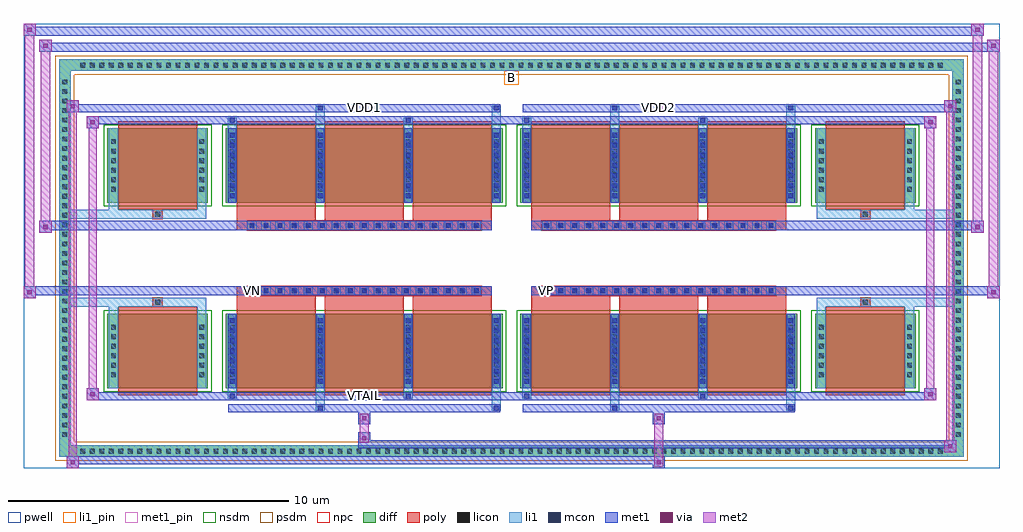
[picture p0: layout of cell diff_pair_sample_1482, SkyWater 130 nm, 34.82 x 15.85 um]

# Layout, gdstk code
import gdstk
lib = gdstk.Library(unit=1e-6, precision=5e-09)
def R(c, l, rs):  # rectangles x0, y0, x1, y1
    for r in rs: c.add(gdstk.rectangle(r[:2], r[2:], *l))
def A(c, l, x, y, w, h, nx, ny, dx, dy):  # array of equal rectangles
    R(c, l, [(x+i*dx, y+j*dy, x+i*dx+w, y+j*dy+h) for i in range(nx) for j in range(ny)])
def P(c, l, *ps):  # polygons
    for p in ps: c.add(gdstk.Polygon(p, *l))
pwell = (64, 44)
diff = (65, 20)
poly = (66, 20)
licon = (66, 44)
li1_pin = (67, 16)
li1 = (67, 20)
mcon = (67, 44)
met1_pin = (68, 16)
met1 = (68, 20)
via = (68, 44)
met2 = (69, 20)
nsdm = (93, 44)
psdm = (94, 20)
npc = (95, 20)

diff_pair_sample_1482 = lib.new_cell('diff_pair_sample_1482')
R(diff_pair_sample_1482, pwell, [(-17.41,-7.49,17.41,8.36), (-14.73,-5.68,-0.01,-0.8), (0.01,-5.68,14.73,-0.8), (-14.73,0.8,-0.01,5.68), (0.01,0.8,14.73,5.68)])
A(diff_pair_sample_1482, diff, -15.505, -7.09, 0.41, 0.41, 91, 2, 0.34, 13.77)
A(diff_pair_sample_1482, diff, -16.14, -6.495, 0.41, 0.41, 1, 38, 0, 0.34)
A(diff_pair_sample_1482, diff, 15.73, -6.495, 0.41, 0.41, 1, 38, 0, 0.34)
R(diff_pair_sample_1482, diff, [(-15.505,-7.09,15.505,-6.68), (-16.14,-6.495,-15.73,6.495), (15.73,-6.495,16.14,6.495), (-14.42,-4.635,-10.83,-1.985), (-10.19,-4.635,-0.32,-1.985), (0.32,-4.635,10.19,-1.985), (10.83,-4.635,14.42,-1.985), (-14.42,1.985,-10.83,4.635), (-10.19,1.985,-0.32,4.635), (0.32,1.985,10.19,4.635), (10.83,1.985,14.42,4.635), (-15.505,6.68,15.505,7.09)])
P(diff_pair_sample_1482, diff, [(16.14,7.09),(-16.14,7.09),(-16.14,-6.68),(-15.73,-6.68),(-15.73,6.68),(15.73,6.68),(15.73,-6.68),(-15.73,-6.68),(-16.14,-6.68),(-16.14,-7.09),(16.14,-7.09)])
A(diff_pair_sample_1482, poly, -9.8, -4.885, 2.81, 3.15, 3, 2, 3.14, 6.62)
A(diff_pair_sample_1482, poly, 0.71, -4.885, 2.81, 3.15, 3, 2, 3.14, 6.62)
A(diff_pair_sample_1482, poly, -9.8, -1.735, 2.81, 0.405, 3, 2, 3.14, 3.065)
A(diff_pair_sample_1482, poly, 0.71, -1.735, 2.81, 0.405, 3, 2, 3.14, 3.065)
A(diff_pair_sample_1482, poly, -9.42, -1.33, 0.33, 0.33, 17, 2, 0.5, 2.33)
A(diff_pair_sample_1482, poly, 1.09, -1.33, 0.33, 0.33, 17, 2, 0.5, 2.33)
R(diff_pair_sample_1482, poly, [(-14.03,-4.885,-11.22,-1.735), (11.22,-4.885,14.03,-1.735), (-12.79,-1.735,-12.46,-1.405), (-12.79,-1.735,-12.46,-1.405), (12.46,-1.735,12.79,-1.405), (12.46,-1.735,12.79,-1.405), (-9.8,-1.33,-0.71,-1), (0.71,-1.33,9.8,-1), (-9.8,1,-0.71,1.33), (0.71,1,9.8,1.33), (-12.79,1.405,-12.46,1.735), (-12.79,1.405,-12.46,1.735), (12.46,1.405,12.79,1.735), (12.46,1.405,12.79,1.735), (-14.03,1.735,-11.22,4.885), (11.22,1.735,14.03,4.885)])
A(diff_pair_sample_1482, licon, -15.385, -6.97, 0.17, 0.17, 91, 2, 0.34, 13.77)
A(diff_pair_sample_1482, licon, -16.02, -6.375, 0.17, 0.17, 1, 38, 0, 0.34)
A(diff_pair_sample_1482, licon, 15.85, -6.375, 0.17, 0.17, 1, 38, 0, 0.34)
A(diff_pair_sample_1482, licon, -14.28, -4.245, 0.17, 0.17, 1, 6, 0, 0.34)
A(diff_pair_sample_1482, licon, -11.14, -4.245, 0.17, 0.17, 1, 6, 0, 0.34)
A(diff_pair_sample_1482, licon, -10.05, -4.245, 0.17, 0.17, 4, 6, 3.14, 0.34)
A(diff_pair_sample_1482, licon, 0.46, -4.245, 0.17, 0.17, 4, 6, 3.14, 0.34)
A(diff_pair_sample_1482, licon, 10.97, -4.245, 0.17, 0.17, 1, 6, 0, 0.34)
A(diff_pair_sample_1482, licon, 14.11, -4.245, 0.17, 0.17, 1, 6, 0, 0.34)
A(diff_pair_sample_1482, licon, -9.34, -1.25, 0.17, 0.17, 17, 2, 0.5, 2.33)
A(diff_pair_sample_1482, licon, 1.17, -1.25, 0.17, 0.17, 17, 2, 0.5, 2.33)
A(diff_pair_sample_1482, licon, -14.28, 2.375, 0.17, 0.17, 1, 6, 0, 0.34)
A(diff_pair_sample_1482, licon, -11.14, 2.375, 0.17, 0.17, 1, 6, 0, 0.34)
A(diff_pair_sample_1482, licon, -10.05, 2.375, 0.17, 0.17, 4, 6, 3.14, 0.34)
A(diff_pair_sample_1482, licon, 0.46, 2.375, 0.17, 0.17, 4, 6, 3.14, 0.34)
A(diff_pair_sample_1482, licon, 10.97, 2.375, 0.17, 0.17, 1, 6, 0, 0.34)
A(diff_pair_sample_1482, licon, 14.11, 2.375, 0.17, 0.17, 1, 6, 0, 0.34)
R(diff_pair_sample_1482, licon, [(-12.71,-1.655,-12.54,-1.485), (12.54,-1.655,12.71,-1.485), (-12.71,1.485,-12.54,1.655), (12.54,1.485,12.71,1.655)])
R(diff_pair_sample_1482, li1_pin, [(-0.25,6.18,0.25,6.68)])
A(diff_pair_sample_1482, li1, -15.465, -7.05, 0.33, 0.33, 91, 2, 0.34, 13.77)
A(diff_pair_sample_1482, li1, -16.1, -6.455, 0.33, 0.33, 1, 38, 0, 0.34)
A(diff_pair_sample_1482, li1, 15.77, -6.455, 0.33, 0.33, 1, 38, 0, 0.34)
A(diff_pair_sample_1482, li1, -10.13, -4.635, 0.33, 2.65, 4, 2, 3.14, 6.62)
A(diff_pair_sample_1482, li1, 0.38, -4.635, 0.33, 2.65, 4, 2, 3.14, 6.62)
A(diff_pair_sample_1482, li1, -10.05, -4.475, 0.17, 0.17, 4, 7, 3.14, 0.36)
A(diff_pair_sample_1482, li1, -10.05, -4.475, 0.17, 2.33, 4, 2, 3.14, 6.62)
A(diff_pair_sample_1482, li1, 0.46, -4.475, 0.17, 0.17, 4, 7, 3.14, 0.36)
A(diff_pair_sample_1482, li1, 0.46, -4.475, 0.17, 2.33, 4, 2, 3.14, 6.62)
A(diff_pair_sample_1482, li1, -14.36, -4.325, 0.33, 0.33, 1, 6, 0, 0.34)
A(diff_pair_sample_1482, li1, -11.22, -4.325, 0.33, 0.33, 1, 6, 0, 0.34)
A(diff_pair_sample_1482, li1, -10.13, -4.325, 0.33, 0.33, 4, 6, 3.14, 0.34)
A(diff_pair_sample_1482, li1, 0.38, -4.325, 0.33, 0.33, 4, 6, 3.14, 0.34)
A(diff_pair_sample_1482, li1, 10.89, -4.325, 0.33, 0.33, 1, 6, 0, 0.34)
A(diff_pair_sample_1482, li1, 14.03, -4.325, 0.33, 0.33, 1, 6, 0, 0.34)
A(diff_pair_sample_1482, li1, -9.42, -1.33, 0.33, 0.33, 17, 2, 0.5, 2.33)
A(diff_pair_sample_1482, li1, 1.09, -1.33, 0.33, 0.33, 17, 2, 0.5, 2.33)
A(diff_pair_sample_1482, li1, -10.05, 2.145, 0.17, 0.17, 4, 7, 3.14, 0.36)
A(diff_pair_sample_1482, li1, 0.46, 2.145, 0.17, 0.17, 4, 7, 3.14, 0.36)
A(diff_pair_sample_1482, li1, -14.36, 2.295, 0.33, 0.33, 1, 6, 0, 0.34)
A(diff_pair_sample_1482, li1, -11.22, 2.295, 0.33, 0.33, 1, 6, 0, 0.34)
A(diff_pair_sample_1482, li1, -10.13, 2.295, 0.33, 0.33, 4, 6, 3.14, 0.34)
A(diff_pair_sample_1482, li1, 0.38, 2.295, 0.33, 0.33, 4, 6, 3.14, 0.34)
A(diff_pair_sample_1482, li1, 10.89, 2.295, 0.33, 0.33, 1, 6, 0, 0.34)
A(diff_pair_sample_1482, li1, 14.03, 2.295, 0.33, 0.33, 1, 6, 0, 0.34)
R(diff_pair_sample_1482, li1, [(-16.14,-7.09,-15.73,-6.68), (-16.14,-7.09,-15.73,-6.68), (-15.73,-7.09,15.73,-6.68), (15.73,-7.09,16.14,-6.68), (15.73,-7.09,16.14,-6.68), (-16.14,-6.68,-15.73,6.68), (15.73,-6.68,16.14,6.68), (-6.99,-5.44,-6.66,-4.635), (-6.91,-5.44,-6.74,-5.27), (-0.71,-5.44,-0.38,-4.635), (-0.63,-5.44,-0.46,-5.27), (3.52,-5.44,3.85,-4.635), (3.6,-5.44,3.77,-5.27), (9.8,-5.44,10.13,-4.635), (9.88,-5.44,10.05,-5.27), (-10.13,-5.01,-9.8,-4.635), (-10.05,-5.01,-9.88,-4.84), (-3.85,-5.01,-3.52,-4.635), (-3.77,-5.01,-3.6,-4.84), (0.38,-5.01,0.71,-4.635), (0.46,-5.01,0.63,-4.84), (6.66,-5.01,6.99,-4.635), (6.74,-5.01,6.91,-4.84), (-14.36,-4.635,-14.03,-1.985), (-11.22,-4.635,-10.89,-1.985), (10.89,-4.635,11.22,-1.985), (14.03,-4.635,14.36,-1.985), (-14.36,-1.985,-14.03,-1.405), (-11.22,-1.985,-10.89,-1.405), (10.89,-1.985,11.22,-1.405), (14.03,-1.985,14.36,-1.405), (-16.14,-1.735,-12.79,-1.405), (-14.36,-1.735,-12.79,-1.405), (-12.79,-1.735,-12.46,-1.405), (-12.46,-1.735,-10.89,-1.405), (10.89,-1.735,12.46,-1.405), (12.46,-1.735,12.79,-1.405), (12.46,-1.735,16.14,-1.405), (12.79,-1.735,14.36,-1.405), (-16.14,1.405,-12.79,1.735), (-14.36,1.405,-12.79,1.735), (-14.36,1.405,-14.03,1.985), (-12.79,1.405,-12.46,1.735), (-12.46,1.405,-10.89,1.735), (-11.22,1.405,-10.89,1.985), (10.89,1.405,12.46,1.735), (10.89,1.405,11.22,1.985), (12.46,1.405,12.79,1.735), (12.46,1.405,16.14,1.735), (12.79,1.405,14.36,1.735), (14.03,1.405,14.36,1.985), (-14.36,1.985,-14.03,4.635), (-11.22,1.985,-10.89,4.635), (10.89,1.985,11.22,4.635), (14.03,1.985,14.36,4.635), (-10.13,4.635,-9.8,5.01), (-6.99,4.635,-6.66,5.44), (-3.85,4.635,-3.52,5.01), (-0.71,4.635,-0.38,5.44), (0.38,4.635,0.71,5.01), (3.52,4.635,3.85,5.44), (6.66,4.635,6.99,5.01), (9.8,4.635,10.13,5.44), (-10.05,4.84,-9.88,5.01), (-3.77,4.84,-3.6,5.01), (0.46,4.84,0.63,5.01), (6.74,4.84,6.91,5.01), (-6.91,5.27,-6.74,5.44), (-0.63,5.27,-0.46,5.44), (3.6,5.27,3.77,5.44), (9.88,5.27,10.05,5.44), (-16.14,6.68,-15.73,7.09), (-16.14,6.68,-15.73,7.09), (-15.73,6.68,15.73,7.09), (15.73,6.68,16.14,7.09), (15.73,6.68,16.14,7.09)])
A(diff_pair_sample_1482, mcon, -10.05, -4.475, 0.17, 0.17, 4, 7, 3.14, 0.36)
A(diff_pair_sample_1482, mcon, 0.46, -4.475, 0.17, 0.17, 4, 7, 3.14, 0.36)
A(diff_pair_sample_1482, mcon, -9.34, -1.25, 0.17, 0.17, 17, 2, 0.5, 2.33)
A(diff_pair_sample_1482, mcon, 1.17, -1.25, 0.17, 0.17, 17, 2, 0.5, 2.33)
A(diff_pair_sample_1482, mcon, -10.05, 2.145, 0.17, 0.17, 4, 7, 3.14, 0.36)
A(diff_pair_sample_1482, mcon, 0.46, 2.145, 0.17, 0.17, 4, 7, 3.14, 0.36)
R(diff_pair_sample_1482, mcon, [(-6.91,-5.44,-6.74,-5.27), (-0.63,-5.44,-0.46,-5.27), (3.6,-5.44,3.77,-5.27), (9.88,-5.44,10.05,-5.27), (-10.05,-5.01,-9.88,-4.84), (-3.77,-5.01,-3.6,-4.84), (0.46,-5.01,0.63,-4.84), (6.74,-5.01,6.91,-4.84), (-10.05,4.84,-9.88,5.01), (-3.77,4.84,-3.6,5.01), (0.46,4.84,0.63,5.01), (6.74,4.84,6.91,5.01), (-6.91,5.27,-6.74,5.44), (-0.63,5.27,-0.46,5.44), (3.6,5.27,3.77,5.44), (9.88,5.27,10.05,5.44)])
R(diff_pair_sample_1482, met1_pin, [(-5.39,-5.05,-5.12,-4.78), (-9.39,-1.29,-9.12,-1.02), (1.12,-1.29,1.39,-1.02), (-5.39,5.23,-5.12,5.5), (5.12,5.23,5.39,5.5)])
A(diff_pair_sample_1482, met1, -10.11, -4.635, 0.29, 2.65, 4, 2, 3.14, 6.62)
A(diff_pair_sample_1482, met1, 0.4, -4.635, 0.29, 2.65, 4, 2, 3.14, 6.62)
A(diff_pair_sample_1482, met1, -10.11, -4.535, 0.29, 0.29, 4, 7, 3.14, 0.36)
A(diff_pair_sample_1482, met1, 0.4, -4.535, 0.29, 0.29, 4, 7, 3.14, 0.36)
A(diff_pair_sample_1482, met1, -9.4, -1.31, 0.29, 0.29, 17, 2, 0.5, 2.33)
A(diff_pair_sample_1482, met1, 1.11, -1.31, 0.29, 0.29, 17, 2, 0.5, 2.33)
A(diff_pair_sample_1482, met1, -10.11, 2.085, 0.29, 0.29, 4, 7, 3.14, 0.36)
A(diff_pair_sample_1482, met1, 0.4, 2.085, 0.29, 0.29, 4, 7, 3.14, 0.36)
R(diff_pair_sample_1482, met1, [(-15.87,-7.49,-15.44,-7.06), (5.04,-7.49,5.47,-7.06), (-15.87,-7.35,5.47,-7.06), (15.44,-6.92,15.87,-6.49), (-5.47,-6.78,15.87,-6.49), (-5.47,-6.64,-5.04,-6.21), (-5.47,-5.93,-5.04,-5.5), (5.04,-5.93,5.47,-5.5), (-10.11,-5.5,-0.4,-5.21), (-6.97,-5.5,-6.68,-5.21), (-0.69,-5.5,-0.4,-5.21), (0.4,-5.5,10.11,-5.21), (3.54,-5.5,3.83,-5.21), (9.82,-5.5,10.11,-5.21), (-15.16,-5.07,-14.73,-4.64), (-15.16,-5.07,-10.11,-4.78), (-10.11,-5.07,-9.82,-4.78), (-10.11,-5.07,-0.4,-4.78), (-3.83,-5.07,-3.54,-4.78), (-0.4,-5.07,0.4,-4.78), (0.4,-5.07,0.69,-4.78), (0.4,-5.07,10.11,-4.78), (6.68,-5.07,6.97,-4.78), (10.11,-5.07,15.16,-4.78), (14.73,-5.07,15.16,-4.64), (-17.41,-1.43,-16.98,-1), (16.98,-1.43,17.41,-1), (-17.41,-1.33,-0.71,-1), (-9.8,-1.33,-0.71,-1), (0.71,-1.33,9.8,-1), (0.71,-1.33,17.41,-1), (-16.84,0.9,-16.41,1.33), (16.41,0.9,16.84,1.33), (-16.84,1,-9.8,1.33), (-9.8,1,-0.71,1.33), (0.71,1,9.8,1.33), (9.8,1,16.84,1.33), (-15.16,4.64,-14.73,5.07), (14.73,4.64,15.16,5.07), (-15.16,4.78,-10.11,5.07), (-10.11,4.78,-9.82,5.07), (-10.11,4.78,-0.4,5.07), (-3.83,4.78,-3.54,5.07), (-0.4,4.78,0.4,5.07), (0.4,4.78,0.69,5.07), (0.4,4.78,10.11,5.07), (6.68,4.78,6.97,5.07), (10.11,4.78,15.16,5.07), (-15.87,5.21,-15.44,5.64), (-15.87,5.21,-10.11,5.5), (-10.11,5.21,-0.4,5.5), (-6.97,5.21,-6.68,5.5), (-0.69,5.21,-0.4,5.5), (0.4,5.21,10.11,5.5), (3.54,5.21,3.83,5.5), (9.82,5.21,10.11,5.5), (10.11,5.21,15.87,5.5), (15.44,5.21,15.87,5.64), (-16.84,7.36,-16.41,7.79), (-16.84,7.36,-14.73,7.69), (-14.73,7.36,14.73,7.69), (14.73,7.36,17.41,7.69), (16.98,7.36,17.41,7.79), (-17.41,7.93,-16.98,8.36), (-17.41,7.93,-14.73,8.26), (-14.73,7.93,14.73,8.26), (14.73,7.93,16.84,8.26), (16.41,7.93,16.84,8.36)])
R(diff_pair_sample_1482, via, [(-15.73,-7.35,-15.58,-7.2), (5.18,-7.35,5.33,-7.2), (15.58,-6.78,15.73,-6.63), (-5.33,-6.5,-5.18,-6.35), (-5.33,-5.79,-5.18,-5.64), (5.18,-5.79,5.33,-5.64), (-15.02,-4.93,-14.87,-4.78), (14.87,-4.93,15.02,-4.78), (-17.27,-1.29,-17.12,-1.14), (17.12,-1.29,17.27,-1.14), (-16.7,1.04,-16.55,1.19), (16.55,1.04,16.7,1.19), (-15.02,4.78,-14.87,4.93), (14.87,4.78,15.02,4.93), (-15.73,5.35,-15.58,5.5), (15.58,5.35,15.73,5.5), (-16.7,7.5,-16.55,7.65), (17.12,7.5,17.27,7.65), (-17.27,8.07,-17.12,8.22), (16.55,8.07,16.7,8.22)])
R(diff_pair_sample_1482, met2, [(-15.87,-7.49,-15.44,-7.06), (-15.8,-7.49,-15.51,5.64), (-15.51,-7.49,-15.44,-7.06), (-15.82,-7.44,-15.49,-7.11), (5.09,-7.44,5.42,-7.11), (5.09,-7.11,5.42,-5.88), (15.44,-6.92,15.87,-6.49), (15.51,-6.92,15.8,5.64), (15.8,-6.92,15.87,-6.49), (15.49,-6.87,15.82,-6.54), (-5.42,-6.59,-5.09,-6.26), (-5.42,-6.26,-5.09,-5.88), (-5.42,-5.88,-5.09,-5.55), (5.09,-5.88,5.42,-5.55), (-15.16,-5.07,-14.73,-4.64), (-15.09,-5.07,-14.8,5.07), (-14.8,-5.07,-14.73,-4.64), (14.73,-5.07,15.16,-4.64), (14.8,-5.07,15.09,5.07), (15.09,-5.07,15.16,-4.64), (-15.11,-5.02,-14.78,-4.69), (14.78,-5.02,15.11,-4.69), (-17.41,-1.43,-16.98,-1), (-17.36,-1.43,-17.03,8.36), (-17.03,-1.43,-16.98,-1), (16.98,-1.43,17.41,-1), (17.03,-1.43,17.36,7.79), (17.36,-1.43,17.41,-1), (-17.36,-1.38,-17.03,-1.05), (17.03,-1.38,17.36,-1.05), (-16.84,0.9,-16.41,1.33), (-16.79,0.9,-16.46,7.79), (-16.46,0.9,-16.41,1.33), (16.41,0.9,16.84,1.33), (16.46,0.9,16.79,8.36), (16.79,0.9,16.84,1.33), (-16.79,0.95,-16.46,1.28), (16.46,0.95,16.79,1.28), (-15.16,4.64,-14.73,5.07), (-14.8,4.64,-14.73,5.07), (14.73,4.64,15.16,5.07), (15.09,4.64,15.16,5.07), (-15.11,4.69,-14.78,5.02), (14.78,4.69,15.11,5.02), (-15.87,5.21,-15.44,5.64), (-15.51,5.21,-15.44,5.64), (15.44,5.21,15.87,5.64), (15.8,5.21,15.87,5.64), (-15.82,5.26,-15.49,5.59), (15.49,5.26,15.82,5.59), (-16.84,7.36,-16.41,7.79), (-16.46,7.36,-16.41,7.79), (16.98,7.36,17.41,7.79), (17.36,7.36,17.41,7.79), (-16.79,7.41,-16.46,7.74), (17.03,7.41,17.36,7.74), (-17.41,7.93,-16.98,8.36), (-17.03,7.93,-16.98,8.36), (16.41,7.93,16.84,8.36), (16.79,7.93,16.84,8.36), (-17.36,7.98,-17.03,8.31), (16.46,7.98,16.79,8.31)])
R(diff_pair_sample_1482, nsdm, [(-14.55,-4.765,-10.7,-1.855), (-10.32,-4.765,-0.19,-1.855), (0.19,-4.765,10.32,-1.855), (10.7,-4.765,14.55,-1.855), (-14.55,1.855,-10.7,4.765), (-10.32,1.855,-0.19,4.765), (0.19,1.855,10.32,4.765), (10.7,1.855,14.55,4.765)])
P(diff_pair_sample_1482, psdm, [(16.27,7.22),(-16.27,7.22),(-16.27,-6.55),(-15.6,-6.55),(-15.6,6.55),(15.6,6.55),(15.6,-6.55),(-15.6,-6.55),(-16.27,-6.55),(-16.27,-7.22),(16.27,-7.22)])
A(diff_pair_sample_1482, npc, -9.44, -1.35, 0.37, 0.37, 17, 2, 0.5, 2.33)
A(diff_pair_sample_1482, npc, 1.07, -1.35, 0.37, 0.37, 17, 2, 0.5, 2.33)
R(diff_pair_sample_1482, npc, [(-12.81,-1.755,-12.44,-1.385), (12.44,-1.755,12.81,-1.385), (-9.44,-1.35,-8.57,-0.98), (-9.44,-1.35,-8.57,-0.98), (-8.94,-1.35,-8.07,-0.98), (-8.94,-1.35,-8.07,-0.98), (-8.44,-1.35,-7.57,-0.98), (-8.44,-1.35,-7.57,-0.98), (-7.94,-1.35,-7.07,-0.98), (-7.94,-1.35,-7.07,-0.98), (-7.44,-1.35,-6.57,-0.98), (-7.44,-1.35,-6.57,-0.98), (-6.94,-1.35,-6.07,-0.98), (-6.94,-1.35,-6.07,-0.98), (-6.44,-1.35,-5.57,-0.98), (-6.44,-1.35,-5.57,-0.98), (-5.94,-1.35,-5.07,-0.98), (-5.94,-1.35,-5.07,-0.98), (-5.44,-1.35,-4.57,-0.98), (-5.44,-1.35,-4.57,-0.98), (-4.94,-1.35,-4.07,-0.98), (-4.94,-1.35,-4.07,-0.98), (-4.44,-1.35,-3.57,-0.98), (-4.44,-1.35,-3.57,-0.98), (-3.94,-1.35,-3.07,-0.98), (-3.94,-1.35,-3.07,-0.98), (-3.44,-1.35,-2.57,-0.98), (-3.44,-1.35,-2.57,-0.98), (-2.94,-1.35,-2.07,-0.98), (-2.94,-1.35,-2.07,-0.98), (-2.44,-1.35,-1.57,-0.98), (-2.44,-1.35,-1.57,-0.98), (-1.94,-1.35,-1.07,-0.98), (-1.94,-1.35,-1.07,-0.98), (1.07,-1.35,1.94,-0.98), (1.07,-1.35,1.94,-0.98), (1.57,-1.35,2.44,-0.98), (1.57,-1.35,2.44,-0.98), (2.07,-1.35,2.94,-0.98), (2.07,-1.35,2.94,-0.98), (2.57,-1.35,3.44,-0.98), (2.57,-1.35,3.44,-0.98), (3.07,-1.35,3.94,-0.98), (3.07,-1.35,3.94,-0.98), (3.57,-1.35,4.44,-0.98), (3.57,-1.35,4.44,-0.98), (4.07,-1.35,4.94,-0.98), (4.07,-1.35,4.94,-0.98), (4.57,-1.35,5.44,-0.98), (4.57,-1.35,5.44,-0.98), (5.07,-1.35,5.94,-0.98), (5.07,-1.35,5.94,-0.98), (5.57,-1.35,6.44,-0.98), (5.57,-1.35,6.44,-0.98), (6.07,-1.35,6.94,-0.98), (6.07,-1.35,6.94,-0.98), (6.57,-1.35,7.44,-0.98), (6.57,-1.35,7.44,-0.98), (7.07,-1.35,7.94,-0.98), (7.07,-1.35,7.94,-0.98), (7.57,-1.35,8.44,-0.98), (7.57,-1.35,8.44,-0.98), (8.07,-1.35,8.94,-0.98), (8.07,-1.35,8.94,-0.98), (8.57,-1.35,9.44,-0.98), (8.57,-1.35,9.44,-0.98), (-9.44,0.98,-8.57,1.35), (-9.44,0.98,-8.57,1.35), (-8.94,0.98,-8.07,1.35), (-8.94,0.98,-8.07,1.35), (-8.44,0.98,-7.57,1.35), (-8.44,0.98,-7.57,1.35), (-7.94,0.98,-7.07,1.35), (-7.94,0.98,-7.07,1.35), (-7.44,0.98,-6.57,1.35), (-7.44,0.98,-6.57,1.35), (-6.94,0.98,-6.07,1.35), (-6.94,0.98,-6.07,1.35), (-6.44,0.98,-5.57,1.35), (-6.44,0.98,-5.57,1.35), (-5.94,0.98,-5.07,1.35), (-5.94,0.98,-5.07,1.35), (-5.44,0.98,-4.57,1.35), (-5.44,0.98,-4.57,1.35), (-4.94,0.98,-4.07,1.35), (-4.94,0.98,-4.07,1.35), (-4.44,0.98,-3.57,1.35), (-4.44,0.98,-3.57,1.35), (-3.94,0.98,-3.07,1.35), (-3.94,0.98,-3.07,1.35), (-3.44,0.98,-2.57,1.35), (-3.44,0.98,-2.57,1.35), (-2.94,0.98,-2.07,1.35), (-2.94,0.98,-2.07,1.35), (-2.44,0.98,-1.57,1.35), (-2.44,0.98,-1.57,1.35), (-1.94,0.98,-1.07,1.35), (-1.94,0.98,-1.07,1.35), (1.07,0.98,1.94,1.35), (1.07,0.98,1.94,1.35), (1.57,0.98,2.44,1.35), (1.57,0.98,2.44,1.35), (2.07,0.98,2.94,1.35), (2.07,0.98,2.94,1.35), (2.57,0.98,3.44,1.35), (2.57,0.98,3.44,1.35), (3.07,0.98,3.94,1.35), (3.07,0.98,3.94,1.35), (3.57,0.98,4.44,1.35), (3.57,0.98,4.44,1.35), (4.07,0.98,4.94,1.35), (4.07,0.98,4.94,1.35), (4.57,0.98,5.44,1.35), (4.57,0.98,5.44,1.35), (5.07,0.98,5.94,1.35), (5.07,0.98,5.94,1.35), (5.57,0.98,6.44,1.35), (5.57,0.98,6.44,1.35), (6.07,0.98,6.94,1.35), (6.07,0.98,6.94,1.35), (6.57,0.98,7.44,1.35), (6.57,0.98,7.44,1.35), (7.07,0.98,7.94,1.35), (7.07,0.98,7.94,1.35), (7.57,0.98,8.44,1.35), (7.57,0.98,8.44,1.35), (8.07,0.98,8.94,1.35), (8.07,0.98,8.94,1.35), (8.57,0.98,9.44,1.35), (8.57,0.98,9.44,1.35), (-12.81,1.385,-12.44,1.755), (12.44,1.385,12.81,1.755)])
diff_pair_sample_1482.add(gdstk.Label('VTAIL', (-5.255,-4.915), layer=68, texttype=5))
diff_pair_sample_1482.add(gdstk.Label('VN', (-9.255,-1.155), layer=68, texttype=5))
diff_pair_sample_1482.add(gdstk.Label('VP', (1.255,-1.155), layer=68, texttype=5))
diff_pair_sample_1482.add(gdstk.Label('B', (0,6.43), layer=67, texttype=5))
diff_pair_sample_1482.add(gdstk.Label('VDD2', (5.255,5.365), layer=68, texttype=5))
diff_pair_sample_1482.add(gdstk.Label('VDD1', (-5.255,5.365), layer=68, texttype=5))

lib.write_gds('diff_pair_sample_1482.gds')
